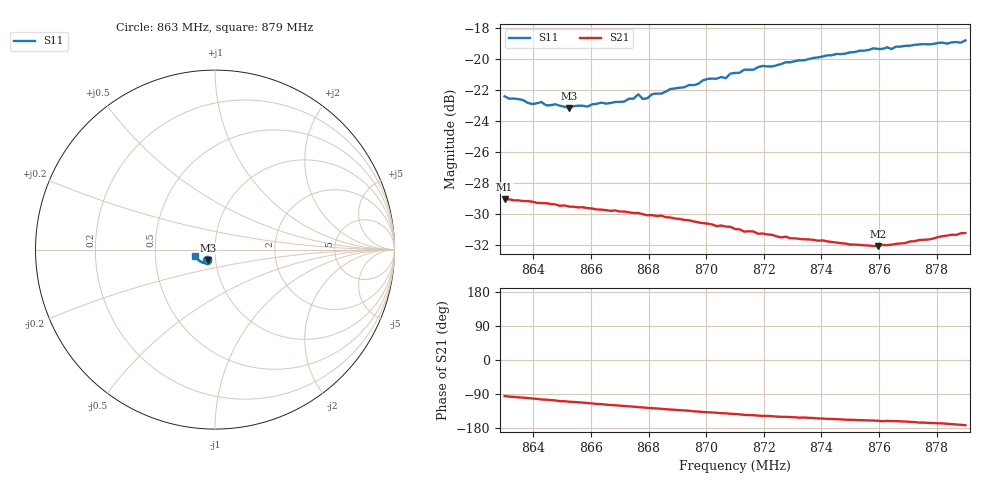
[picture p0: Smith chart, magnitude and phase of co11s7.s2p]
# HZ S RI R 50
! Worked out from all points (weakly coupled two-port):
!   101 points, 863 MHz to 879 MHz, reference 50 ohm
!   highest |S21| = -29.04 dB at 863 MHz (marker M1); lowest = -32.1 dB at 875.96 MHz (marker M2)
!   lowest |S11| = -23.2 dB at 865.24 MHz (marker M3), VSWR 1.15, Z = 46 - j5.31 ohm
!   |S11| at or under -10 dB: start of sweep to end of sweep
!   S12 and S22 are empty: the file has one direction only
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8.63e8  -0.0469 -0.0595  -0.00319 -0.0352  0 0  0 0
8.6396e8  -0.0424 -0.0576  -0.00699 -0.0339  0 0  0 0
8.6428e8  -0.0426 -0.0588  -0.0084 -0.0332  0 0  0 0
8.6444e8  -0.0411 -0.0577  -0.00868 -0.0331  0 0  0 0
8.6476e8  -0.0411 -0.0584  -0.00975 -0.0325  0 0  0 0
8.6524e8  -0.0389 -0.0574  -0.0115 -0.0314  0 0  0 0
8.6572e8  -0.0383 -0.0593  -0.0127 -0.0307  0 0  0 0
8.6716e8  -0.0383 -0.062  -0.0168 -0.0275  0 0  0 0
8.6764e8  -0.0392 -0.0662  -0.018 -0.0263  0 0  0 0
8.678e8  -0.0384 -0.0635  -0.0182 -0.0258  0 0  0 0
8.6812e8  -0.0399 -0.0658  -0.0189 -0.025  0 0  0 0
8.6844e8  -0.0394 -0.0665  -0.0196 -0.0243  0 0  0 0
8.6876e8  -0.0414 -0.0685  -0.0201 -0.0233  0 0  0 0
8.6972e8  -0.0447 -0.07  -0.0214 -0.0206  0 0  0 0
8.7004e8  -0.0468 -0.0723  -0.0219 -0.0197  0 0  0 0
8.7068e8  -0.0492 -0.0714  -0.0223 -0.0182  0 0  0 0
8.71e8  -0.0531 -0.0728  -0.0224 -0.0172  0 0  0 0
8.726e8  -0.0639 -0.0719  -0.023 -0.0133  0 0  0 0
8.7372e8  -0.071 -0.0715  -0.0233 -0.0118  0 0  0 0
8.7596e8  -0.0885 -0.0613  -0.0234 -0.00837  0 0  0 0
8.7644e8  -0.0916 -0.0566  -0.0238 -0.00809  0 0  0 0
8.79e8  -0.1091 -0.0354  -0.0272 -0.00374  0 0  0 0
